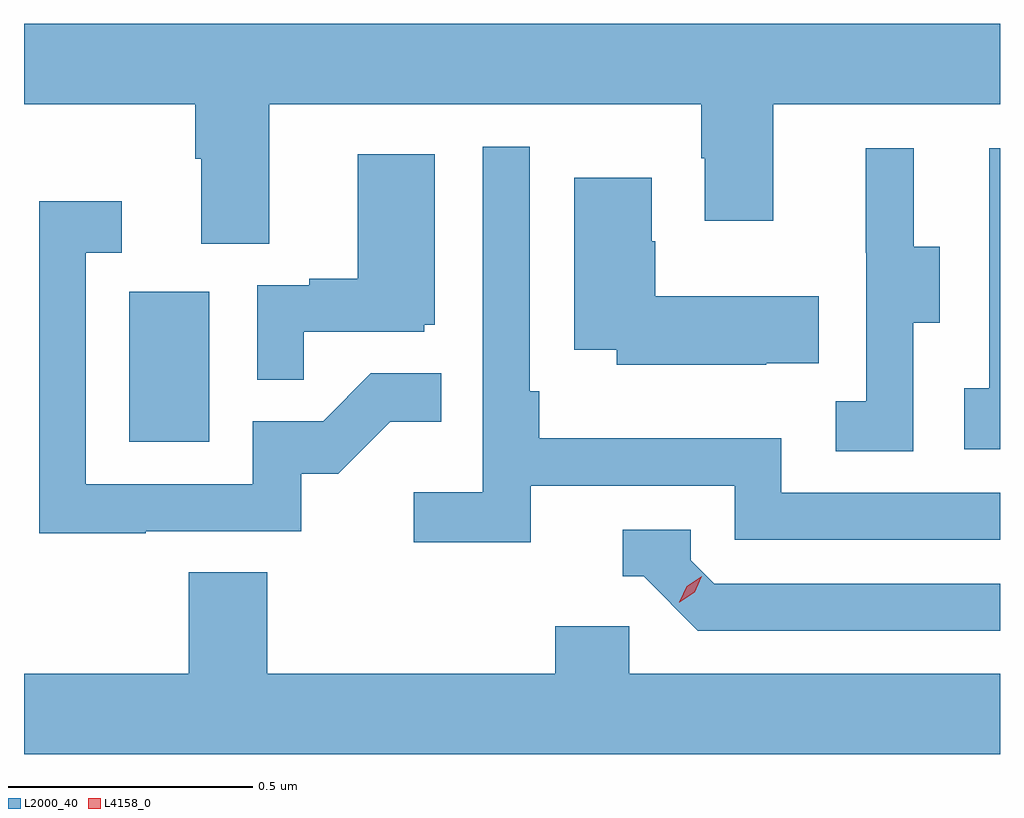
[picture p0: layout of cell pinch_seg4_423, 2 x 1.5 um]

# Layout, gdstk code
import gdstk
lib = gdstk.Library(unit=1e-6, precision=1e-09)
def R(c, l, rs):  # rectangles x0, y0, x1, y1
    for r in rs: c.add(gdstk.rectangle(r[:2], r[2:], *l))
def P(c, l, *ps):  # polygons
    for p in ps: c.add(gdstk.Polygon(p, *l))
L2000_40 = (2000, 40)
L4158_0 = (4158, 0)

pinch_seg4_423 = lib.new_cell('pinch_seg4_423')
R(pinch_seg4_423, L2000_40, [(997.82,770.82,997.984,771.127)])
P(pinch_seg4_423, L2000_40, [(998.107,771.512),(998.992,771.512),(998.992,771.401),(998.999,771.401),(998.999,771.273),(999.139,771.273),(999.139,771.512),(999.604,771.512),(999.604,771.676),(997.604,771.676),(997.604,771.512),(997.955,771.512),(997.955,771.4),(997.967,771.4),(997.967,771.226),(998.107,771.226)],
  [(998.642,770.73),(999.06,770.73),(999.06,770.619),(999.604,770.619),(999.604,770.715),(999.156,770.715),(999.156,770.827),(998.66,770.827),(998.66,770.923),(998.64,770.923),(998.64,771.424),(998.544,771.424),(998.544,770.716),(998.403,770.716),(998.403,770.614),(998.642,770.614)],
  [(999.426,771.064),(999.481,771.064),(999.481,771.219),(999.427,771.219),(999.427,771.421),(999.329,771.421),(999.329,771.207),(999.33,771.207),(999.33,770.903),(999.267,770.903),(999.267,770.8),(999.426,770.8)],
  [(999.604,771.421),(999.582,771.421),(999.582,770.93),(999.531,770.93),(999.531,770.805),(999.604,770.805)],
  [(998.177,771.045),(998.424,771.045),(998.424,771.06),(998.446,771.06),(998.446,771.409),(998.288,771.409),(998.288,771.154),(998.189,771.154),(998.189,771.141),(998.082,771.141),(998.082,770.947),(998.177,770.947)],
  [(999.125,770.981),(999.233,770.981),(999.233,771.118),(998.898,771.118),(998.898,771.231),(998.89,771.231),(998.89,771.361),(998.732,771.361),(998.732,771.008),(998.819,771.008),(998.819,770.978),(999.125,770.978)],
  [(997.853,770.637),(998.172,770.637),(998.172,770.754),(998.248,770.754),(998.355,770.861),(998.459,770.861),(998.459,770.96),(998.315,770.96),(998.217,770.862),(998.073,770.862),(998.073,770.733),(997.731,770.733),(997.731,771.207),(997.804,771.207),(997.804,771.313),(997.635,771.313),(997.635,770.632),(997.853,770.632)],
  [(999.604,770.529),(999.018,770.529),(998.97,770.577),(998.97,770.64),(998.831,770.64),(998.831,770.544),(998.874,770.544),(998.985,770.433),(999.604,770.433)],
  [(999.604,770.344),(998.844,770.344),(998.844,770.442),(998.693,770.442),(998.693,770.344),(998.102,770.344),(998.102,770.552),(997.942,770.552),(997.942,770.344),(997.604,770.344),(997.604,770.18),(999.604,770.18)])
P(pinch_seg4_423, L4158_0, [(998.947,770.491),(998.947,770.491),(998.962,770.524),(998.993,770.544),(998.993,770.544),(998.993,770.544),(998.978,770.511),(998.948,770.491)])

lib.write_gds('pinch_seg4_423.gds')
